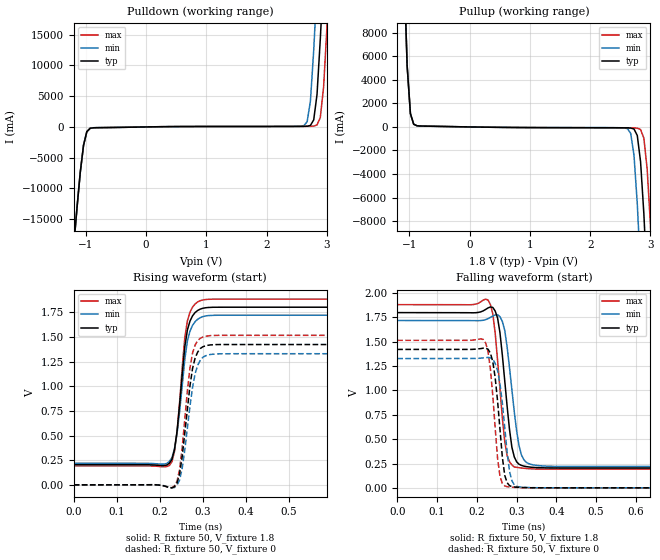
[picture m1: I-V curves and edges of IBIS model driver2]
| IBIS file invchain_stage4_probe.ibs created by PYS2IBIS3
| Missouri S&T EMC Lab
[IBIS Ver] 7.1
[File Name] invchain_stage4_probe.ibs
[File Rev] 1.0
[Date] Jul 27, 2026
[Source] inv_chain variant 'stage4' -- four stages, same final drive
[Notes] Observation pass for parameter selection.
[Component] invchain
[Manufacturer] s2ibispy study
[Package]
| variable   typ   min   max
R_pkg 0 NA NA
L_pkg 0H NA NA
C_pkg 0F NA NA
[Pin]  signal_name   model_name   R_pin   L_pin   C_pin
VSSQ   VSSQ   Gnd
VCCQ   VCCQ   Power
| IN IN dummy
PAD   PAD   driver2
| End of Component
| Models and submodels in the file (1): driver2 (Output)
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[Model] driver2
Model_type Output
Polarity Non-Inverting
Enable Active-High
Vinl  = 0.8V
Vinh  = 2V
C_comp 0.4680pF NA NA
[Temperature Range] 27.0000 27.0000 27.0000
[Voltage Range] 1.8000V 1.7000V 1.9000V
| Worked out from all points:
|   slope of the pulldown table from 0 to 0.27 V, typ, clamps not added: 6.79 ohm
|   slope of the pullup table from 0 to 0.27 V, typ, clamps not added: 12.6 ohm
|   rising waveform, R_fixture 50, V_fixture 1.8: 20-80 % time 21.5ps typ, 22.8ps min, 20ps max; typ from 0.204 V to 1.8 V
|   rising waveform, R_fixture 50, V_fixture 0: 20-80 % time 22.8ps typ, 24.1ps min, 21.2ps max; typ from 0 V to 1.42 V
|   falling waveform, R_fixture 50, V_fixture 1.8: 20-80 % time 23.6ps typ, 25.7ps min, 21.7ps max; typ from 1.8 V to 0.204 V
|   falling waveform, R_fixture 50, V_fixture 0: 20-80 % time 19.2ps typ, 20.9ps min, 17.9ps max; typ from 1.42 V to 0 V
[Pulldown]
| Voltage   I(typ)   I(min)   I(max)
-1.8V     -87.88A    -87.88A    -87.88A
-1.2V     -19.4A     -19.4A     -19.4A
-1.036V   -2.952A    -2.948A    -2.955A
-927.3mV  -221.8mA   -216.4mA   -227mA
2.618V    95.77mA    193.1mA    97.15mA
2.727V    244.8mA    4.224A     106.4mA
2.782V    1.151A     12.49A     132.5mA
2.836V    5.27A      23.04A     313.7mA
2.891V    14.25A     33.59A     1.533A
2.946V    24.81A     44.15A     6.464A
3V        35.36A     54.71A     16.02A
3.6V      151.5A     170.8A     132.1A
[Pullup]
| Voltage   I(typ)   I(min)   I(max)
-1.8V     151.4A     151.4A     151.4A
-1.091V   14.2A      14.19A     14.2A
-981.8mV  1.13A      1.129A     1.132A
-872.7mV  99.18mA    97.54mA    100.6mA
2.618V    -78.19mA   -142.5mA   -79.21mA
2.727V    -177.2mA   -2.408A    -86.52mA
2.782V    -728.3mA   -6.523A    -104.6mA
2.836V    -2.952A    -12.18A    -222.3mA
2.891V    -7.391A    -18.4A     -950.7mA
2.946V    -13.22A    -24.62A    -3.561A
3V        -19.44A    -30.85A    -8.297A
3.6V      -87.92A    -99.33A    -76.52A
[Ramp]
| variable   typ   min   max
dV/dt_r 0.8532/0.02245n 0.7968/0.02355n 0.9090/0.02046n
dV/dt_f 0.9575/0.02303n 0.8972/0.02471n 1.0171/0.02151n
R_load = 50
[Rising Waveform]
R_fixture = 50
V_fixture = 1.8
|time   V(typ)   V(min)   V(max)
0s        204.2mV    219.5mV    192.2mV
222.2ps   218mV      236.9mV    196mV
234.2ps   355.8mV    362.1mV    336.9mV
240.2ps   540.3mV    516.4mV    532.1mV
258.3ps   1.398V     1.269V     1.491V
264.3ps   1.569V     1.458V     1.661V
270.3ps   1.659V     1.557V     1.75V
282.3ps   1.746V     1.654V     1.834V
312.3ps   1.797V     1.715V     1.88V
6ns       1.8V       1.719V     1.882V
[Rising Waveform]
R_fixture = 50
V_fixture = 0
|time   V(typ)   V(min)   V(max)
0s        13.08nV    12.76nV    13.48nV
234.2ps   -18.69mV   -26.81mV   -10.86mV
246.2ps   111.5mV    49.19mV    154.6mV
252.3ps   289.8mV    170.4mV    380.9mV
264.3ps   774.4mV    575.2mV    952.1mV
276.3ps   1.179V     987.6mV    1.335V
282.3ps   1.286V     1.127V     1.417V
294.3ps   1.382V     1.261V     1.485V
318.3ps   1.418V     1.321V     1.512V
6ns       1.422V     1.328V     1.515V
[Falling Waveform]
R_fixture = 50
V_fixture = 1.8
|time   V(typ)   V(min)   V(max)
0s        1.8V       1.719V     1.882V
228.2ps   1.848V     1.738V     1.93V
240.2ps   1.853V     1.765V     1.787V
252.3ps   1.744V     1.778V     1.309V
264.3ps   1.36V      1.708V     716.5mV
276.3ps   835.4mV    1.445V     329.5mV
288.3ps   415.3mV    1.002V     235.4mV
306.3ps   242.3mV    430.9mV    206.8mV
330.3ps   215mV      248.8mV    196.6mV
6ns       204.2mV    219.5mV    192.2mV
[Falling Waveform]
R_fixture = 50
V_fixture = 0
|time   V(typ)   V(min)   V(max)
0s        1.422V     1.328V     1.515V
216.2ps   1.435V     1.335V     1.524V
228.2ps   1.424V     1.34V      1.402V
240.2ps   1.297V     1.322V     947.6mV
252.3ps   889.7mV    1.204V     300.5mV
258.3ps   597.2mV    1.068V     117.7mV
270.3ps   128.1mV    621mV      20.01mV
282.3ps   22.48mV    169.6mV    8.447mV
294.3ps   8.779mV    30.67mV    4.683mV
6ns       13.08nV    12.76nV    13.49nV
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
